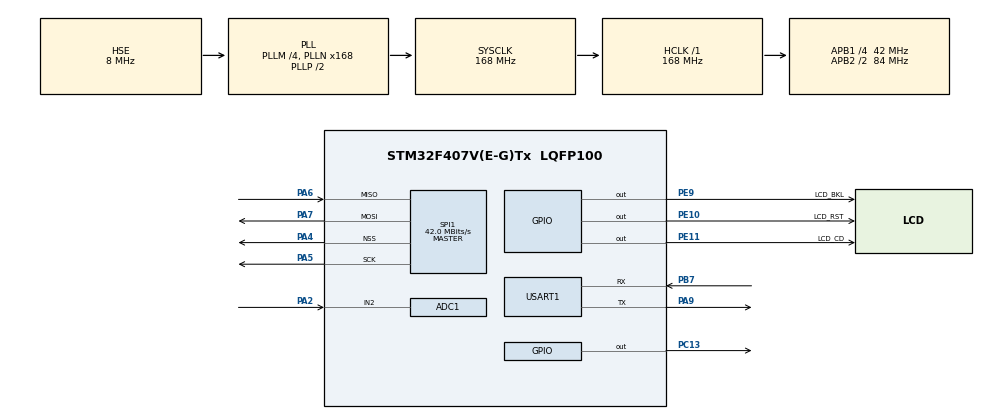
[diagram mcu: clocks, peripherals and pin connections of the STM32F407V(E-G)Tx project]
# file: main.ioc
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ADC1.Channel-5\#ChannelRegularConversion=ADC_CHANNEL_2
ADC1.ClockPrescaler=ADC_CLOCK_SYNC_PCLK_DIV4
ADC1.ContinuousConvMode=DISABLE
ADC1.DMAContinuousRequests=ENABLE
ADC1.DataAlign=ADC_DATAALIGN_RIGHT
ADC1.ExternalTrigConv=ADC_EXTERNALTRIGCONV_T2_TRGO
ADC1.InjNumberOfConversion=0
ADC1.NbrOfConversion=1
ADC1.NbrOfConversionFlag=1
ADC1.Rank-5\#ChannelRegularConversion=1
ADC1.SamplingTime-5\#ChannelRegularConversion=ADC_SAMPLETIME_3CYCLES
ADC1.ScanConvMode=DISABLE
ADC1.master=1
Dma.ADC1.2.Direction=DMA_PERIPH_TO_MEMORY
Dma.ADC1.2.FIFOMode=DMA_FIFOMODE_DISABLE
Dma.ADC1.2.Instance=DMA2_Stream4
Dma.ADC1.2.MemDataAlignment=DMA_MDATAALIGN_HALFWORD
Dma.ADC1.2.MemInc=DMA_MINC_ENABLE
Dma.ADC1.2.Mode=DMA_NORMAL
Dma.ADC1.2.PeriphDataAlignment=DMA_PDATAALIGN_HALFWORD
Dma.ADC1.2.PeriphInc=DMA_PINC_DISABLE
Dma.ADC1.2.Priority=DMA_PRIORITY_LOW
Dma.Request0=SPI1_TX
Dma.Request1=SPI1_RX
Dma.Request2=ADC1
Dma.SPI1_RX.1.Direction=DMA_PERIPH_TO_MEMORY
Dma.SPI1_RX.1.FIFOMode=DMA_FIFOMODE_ENABLE
Dma.SPI1_RX.1.FIFOThreshold=DMA_FIFO_THRESHOLD_FULL
Dma.SPI1_RX.1.Instance=DMA2_Stream0
Dma.SPI1_RX.1.MemBurst=DMA_MBURST_SINGLE
Dma.SPI1_RX.1.MemDataAlignment=DMA_MDATAALIGN_BYTE
Dma.SPI1_RX.1.MemInc=DMA_MINC_ENABLE
Dma.SPI1_RX.1.Mode=DMA_NORMAL
Dma.SPI1_RX.1.PeriphBurst=DMA_PBURST_SINGLE
Dma.SPI1_RX.1.PeriphDataAlignment=DMA_PDATAALIGN_BYTE
Dma.SPI1_RX.1.PeriphInc=DMA_PINC_DISABLE
Dma.SPI1_RX.1.Priority=DMA_PRIORITY_MEDIUM
Dma.SPI1_TX.0.Direction=DMA_MEMORY_TO_PERIPH
Dma.SPI1_TX.0.FIFOMode=DMA_FIFOMODE_ENABLE
Dma.SPI1_TX.0.FIFOThreshold=DMA_FIFO_THRESHOLD_FULL
Dma.SPI1_TX.0.Instance=DMA2_Stream3
Dma.SPI1_TX.0.MemBurst=DMA_MBURST_SINGLE
Dma.SPI1_TX.0.MemDataAlignment=DMA_MDATAALIGN_BYTE
Dma.SPI1_TX.0.MemInc=DMA_MINC_ENABLE
Dma.SPI1_TX.0.Mode=DMA_NORMAL
Dma.SPI1_TX.0.PeriphBurst=DMA_PBURST_SINGLE
Dma.SPI1_TX.0.PeriphDataAlignment=DMA_PDATAALIGN_BYTE
Dma.SPI1_TX.0.PeriphInc=DMA_PINC_DISABLE
Dma.SPI1_TX.0.Priority=DMA_PRIORITY_MEDIUM
FREERTOS.Tasks01=defaultTask,24,4096,StartDefaultTask,Default,NULL,Dynamic,NULL,NULL
FREERTOS.configENABLE_FPU=1
FREERTOS.configTOTAL_HEAP_SIZE=32768
Mcu.Family=STM32F4
Mcu.Name=STM32F407V(E-G)Tx
Mcu.Package=LQFP100
NVIC.ADC_IRQn=true\:5\:0\:false\:false\:true\:true\:true\:true\:true
NVIC.DMA2_Stream0_IRQn=true\:5\:0\:false\:false\:true\:true\:false\:true\:true
NVIC.DMA2_Stream3_IRQn=true\:5\:0\:false\:false\:true\:true\:false\:true\:true
NVIC.DMA2_Stream4_IRQn=true\:5\:0\:false\:false\:true\:true\:false\:true\:true
NVIC.PriorityGroup=NVIC_PRIORITYGROUP_4
NVIC.SPI1_IRQn=true\:5\:0\:false\:false\:true\:true\:true\:true\:true
NVIC.TIM8_TRG_COM_TIM14_IRQn=true\:15\:0\:false\:false\:true\:false\:false\:true\:true
NVIC.TimeBase=TIM8_TRG_COM_TIM14_IRQn
NVIC.TimeBaseIP=TIM14
NVIC.USART1_IRQn=true\:10\:0\:true\:false\:true\:true\:true\:true\:true
PA2.Signal=ADCx_IN2
PA4.Mode=NSS_Signal_Hard_Output
PA4.Signal=SPI1_NSS
PA5.Mode=Full_Duplex_Master
PA5.Signal=SPI1_SCK
PA6.Mode=Full_Duplex_Master
PA6.Signal=SPI1_MISO
PA7.Mode=Full_Duplex_Master
PA7.Signal=SPI1_MOSI
PA9.Mode=Asynchronous
PA9.Signal=USART1_TX
PB7.Mode=Asynchronous
PB7.Signal=USART1_RX
PC13-ANTI_TAMP.Signal=GPIO_Output
PC14-OSC32_IN.Mode=LSE-External-Oscillator
PC14-OSC32_IN.Signal=RCC_OSC32_IN
PC15-OSC32_OUT.Mode=LSE-External-Oscillator
PC15-OSC32_OUT.Signal=RCC_OSC32_OUT
PE10.GPIO_Label=LCD_RST
PE10.GPIO_Speed=GPIO_SPEED_FREQ_VERY_HIGH
PE10.PinState=GPIO_PIN_SET
PE10.Signal=GPIO_Output
PE11.GPIO_Label=LCD_CD
PE11.GPIO_Speed=GPIO_SPEED_FREQ_VERY_HIGH
PE11.Signal=GPIO_Output
PE9.GPIO_Label=LCD_BKL
PE9.GPIO_Speed=GPIO_SPEED_FREQ_VERY_HIGH
PE9.PinState=GPIO_PIN_SET
PE9.Signal=GPIO_Output
PH0-OSC_IN.Mode=HSE-External-Oscillator
PH0-OSC_IN.Signal=RCC_OSC_IN
PH1-OSC_OUT.Mode=HSE-External-Oscillator
PH1-OSC_OUT.Signal=RCC_OSC_OUT
ProjectManager.HeapSize=0x2000
ProjectManager.StackSize=0x4000
ProjectManager.TargetToolchain=Makefile
RCC.48MHZClocksFreq_Value=84000000
RCC.AHBFreq_Value=168000000
RCC.APB1CLKDivider=RCC_HCLK_DIV4
RCC.APB1Freq_Value=42000000
RCC.APB1TimFreq_Value=84000000
RCC.APB2CLKDivider=RCC_HCLK_DIV2
RCC.APB2Freq_Value=84000000
RCC.APB2TimFreq_Value=168000000
RCC.CortexFreq_Value=168000000
RCC.EnbaleCSS=true
RCC.HCLKFreq_Value=168000000
RCC.HSE_VALUE=8000000
RCC.HSI_VALUE=16000000
RCC.PLLM=4
RCC.PLLN=168
RCC.PLLSourceVirtual=RCC_PLLSOURCE_HSE
RCC.SYSCLKFreq_VALUE=168000000
RCC.SYSCLKSource=RCC_SYSCLKSOURCE_PLLCLK
RCC.VCOOutputFreq_Value=336000000
SH.ADCx_IN2.0=ADC1_IN2,IN2
SPI1.BaudRatePrescaler=SPI_BAUDRATEPRESCALER_2
SPI1.CLKPhase=SPI_PHASE_1EDGE
SPI1.CLKPolarity=SPI_POLARITY_LOW
SPI1.CalculateBaudRate=42.0 MBits/s
SPI1.Direction=SPI_DIRECTION_2LINES
SPI1.Mode=SPI_MODE_MASTER
SPI1.VirtualNSS=VM_NSSHARD
SPI1.VirtualType=VM_MASTER
STMicroelectronics.X-CUBE-ALGOBUILD.1.4.0.LibraryCcDSPOoLibraryJjDSPOoLibrary=true
TIM2.AutoReloadPreload=TIM_AUTORELOAD_PRELOAD_ENABLE
TIM2.Period=100
TIM2.Prescaler=84
TIM2.TIM_MasterOutputTrigger=TIM_TRGO_UPDATE
USART1.VirtualMode=VM_ASYNC
VP_FREERTOS_VS_CMSIS_V2.Mode=CMSIS_V2
VP_STMicroelectronics.X-CUBE-ALGOBUILD_VS_DSPOoLibraryJjLibrary_1.4.0_1.4.0.Mode=DSPOoLibraryJjLibrary
VP_SYS_VS_tim14.Mode=TIM14
VP_TIM2_VS_ClockSourceINT.Mode=Internal
board=custom

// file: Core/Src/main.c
/* USER CODE BEGIN Header */
/**
 ******************************************************************************
 * @file           : main.c
 * @brief          : Main program body
 ******************************************************************************
 * @attention
 *
 * Copyright (c) 2025 STMicroelectronics.
 * All rights reserved.
 *
 * This software is licensed under terms that can be found in the LICENSE file
 * in the root directory of this software component.
 * If no LICENSE file comes with this software, it is provided AS-IS.
 *
 ******************************************************************************
 */
/* USER CODE END Header */
#include "main.h"
#include "cmsis_os.h"
#include "adc.h"
#include "dma.h"
#include "spi.h"
#include "tim.h"
#include "usart.h"
#include "gpio.h"

/* USER CODE BEGIN Includes */
#include <stdio.h>
/* USER CODE END Includes */

void SystemClock_Config(void);
void MX_FREERTOS_Init(void);

/* USER CODE BEGIN 0 */
int __io_putchar(int ch)
{
  while (!(USART1->SR & USART_SR_TXE))
    ;
  USART1->DR = (uint8_t)ch;
  return ch;
}
/* USER CODE END 0 */

int main(void)
{

  /* MCU Configuration--------------------------------------------------------*/

  /* Reset of all peripherals, Initializes the Flash interface and the Systick. */
  HAL_Init();

  /* Configure the system clock */
  SystemClock_Config();

  /* Initialize all configured peripherals */
  MX_GPIO_Init();
  MX_DMA_Init();
  MX_SPI1_Init();
  MX_USART1_UART_Init();
  MX_TIM2_Init();
  MX_ADC1_Init();

  /* Init scheduler */
  osKernelInitialize();

  /* Call init function for freertos objects (in cmsis_os2.c) */
  MX_FREERTOS_Init();

  /* Start scheduler */
  osKernelStart();

  /* We should never get here as control is now taken by the scheduler */

  /* Infinite loop */
  while (1)
  {

  }
}

void SystemClock_Config(void)
{
  RCC_OscInitTypeDef RCC_OscInitStruct = {0};
  RCC_ClkInitTypeDef RCC_ClkInitStruct = {0};

  /** Configure the main internal regulator output voltage
  */
  __HAL_RCC_PWR_CLK_ENABLE();
  __HAL_PWR_VOLTAGESCALING_CONFIG(PWR_REGULATOR_VOLTAGE_SCALE1);

  /** Initializes the RCC Oscillators according to the specified parameters
  * in the RCC_OscInitTypeDef structure.
  */
  RCC_OscInitStruct.OscillatorType = RCC_OSCILLATORTYPE_HSE;
  RCC_OscInitStruct.HSEState = RCC_HSE_ON;
  RCC_OscInitStruct.PLL.PLLState = RCC_PLL_ON;
  RCC_OscInitStruct.PLL.PLLSource = RCC_PLLSOURCE_HSE;
  RCC_OscInitStruct.PLL.PLLM = 4;
  RCC_OscInitStruct.PLL.PLLN = 168;
  RCC_OscInitStruct.PLL.PLLP = RCC_PLLP_DIV2;
  RCC_OscInitStruct.PLL.PLLQ = 4;
  if (HAL_RCC_OscConfig(&RCC_OscInitStruct) != HAL_OK)
  {
    Error_Handler();
  }

  /** Initializes the CPU, AHB and APB buses clocks
  */
  RCC_ClkInitStruct.ClockType = RCC_CLOCKTYPE_HCLK|RCC_CLOCKTYPE_SYSCLK
                              |RCC_CLOCKTYPE_PCLK1|RCC_CLOCKTYPE_PCLK2;
  RCC_ClkInitStruct.SYSCLKSource = RCC_SYSCLKSOURCE_PLLCLK;
  RCC_ClkInitStruct.AHBCLKDivider = RCC_SYSCLK_DIV1;
  RCC_ClkInitStruct.APB1CLKDivider = RCC_HCLK_DIV4;
  RCC_ClkInitStruct.APB2CLKDivider = RCC_HCLK_DIV2;

  if (HAL_RCC_ClockConfig(&RCC_ClkInitStruct, FLASH_LATENCY_5) != HAL_OK)
  {
    Error_Handler();
  }

  /** Enables the Clock Security System
  */
  HAL_RCC_EnableCSS();
}

void HAL_TIM_PeriodElapsedCallback(TIM_HandleTypeDef *htim)
{
  if (htim->Instance == TIM14) {
    HAL_IncTick();
  }
}

void Error_Handler(void)
{
  __disable_irq();
  while (1)
  {
  }
}

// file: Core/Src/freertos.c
/* USER CODE BEGIN Header */
/**
 ******************************************************************************
 * File Name          : freertos.c
 * Description        : Code for freertos applications
 ******************************************************************************
 * @attention
 *
 * Copyright (c) 2025 STMicroelectronics.
 * All rights reserved.
 *
 * This software is licensed under terms that can be found in the LICENSE file
 * in the root directory of this software component.
 * If no LICENSE file comes with this software, it is provided AS-IS.
 *
 ******************************************************************************
 */
/* USER CODE END Header */

#include "FreeRTOS.h"
#include "task.h"
#include "main.h"
#include "cmsis_os.h"

/* USER CODE BEGIN Includes */
#include "st7735s.h"
#include "spi.h"
#include "tim.h"
#include "myfft.h"
#include <stdio.h>
#include <math.h>
#include "adc.h"
extern uint8_t FPS;
uint8_t FPS = 0;
/* USER CODE END Includes */

/* Definitions for defaultTask */
osThreadId_t defaultTaskHandle;
const osThreadAttr_t defaultTask_attributes = {
	.name = "defaultTask",
	.stack_size = 4096 * 4,
	.priority = (osPriority_t)osPriorityNormal,
};

/* USER CODE BEGIN FunctionPrototypes */
extern uint16_t counter;
uint16_t counter = 0;
/* USER CODE END FunctionPrototypes */

void StartDefaultTask(void *argument);

void MX_FREERTOS_Init(void); /* (MISRA C 2004 rule 8.1) */

void MX_FREERTOS_Init(void)
{

	/* Create the thread(s) */
	/* creation of defaultTask */
	defaultTaskHandle = osThreadNew(StartDefaultTask, NULL, &defaultTask_attributes);

}

/* USER CODE BEGIN Header_StartDefaultTask */
/**
 * @brief  Function implementing the defaultTask thread.
 * @param  argument: Not used
 * @retval None
 */
uint8_t ADC_Complete = 0;
const uint16_t color_map[8] = {
	ST7735S_COLOR_BLACK,
	ST7735S_COLOR_BLUE,
	ST7735S_COLOR_RED,
	ST7735S_COLOR_GREEN,
	ST7735S_COLOR_CYAN,
	ST7735S_COLOR_MAGENTA,
	ST7735S_COLOR_YELLOW,
	ST7735S_COLOR_WHITE,
};
void HAL_ADC_ConvCpltCallback(ADC_HandleTypeDef *hadc)
{
	if (hadc == &hadc1)
	{
		ADC_Complete = 1;
		// printf("finsh\r\n");
	}
}
/* USER CODE END Header_StartDefaultTask */
void StartDefaultTask(void *argument)
{
	/* USER CODE BEGIN StartDefaultTask */
	ST7735S_HandleTypeDef st7735;
	ST7735S_Init(&st7735, &hspi1, LCD_CD_GPIO_Port, LCD_CD_Pin, LCD_RST_GPIO_Port, LCD_RST_Pin, LCD_BKL_GPIO_Port, LCD_BKL_Pin, 128, 160);
	ST7735S_LCD_Init(&st7735);
	MYFFT_HandleTypeDef myfft;
	MYFFT_Init(&myfft, 256);
	HAL_TIM_Base_Start(&htim2);
	uint16_t arr[256] = {0};
	HAL_ADC_Start_DMA(&hadc1, arr, 256);
	/* Infinite loop */
	while (1)
	{
		if (ADC_Complete)
		{
			ST7735S_WriteBlock(&st7735, ST7735S_COLOR_WHITE);
			for (int i = 0; i < 256; i++)
			{
				myfft.input_signal[i] = ((3.3 * arr[i] )/ 4096 - 1.2f);
				//printf("%d\r\n", 1000*(int)myfft.input_signal[i]);
			}
			MYFFT_GetResult(&myfft);
			for (int i = 0; i < 128; i++)
			{
				//printf("Frequency bin %d: Magnitude = %d\r\n", i, (int)(myfft.result[i]));
				//printf("%d\r\n", (int)(myfft.result[i]));
				ST7735S_DrawLineUp(&st7735, i, 159, (uint8_t)myfft.result[i], ST7735S_COLOR_BLACK);
			}
			ADC_Complete = 0;
			memset(arr, 0, 256 * 2);
			HAL_ADC_Start_DMA(&hadc1, arr, 256);
			ST7735S_FlushBuffDMA(&st7735);
		}
	}

	/* USER CODE END StartDefaultTask */
}
